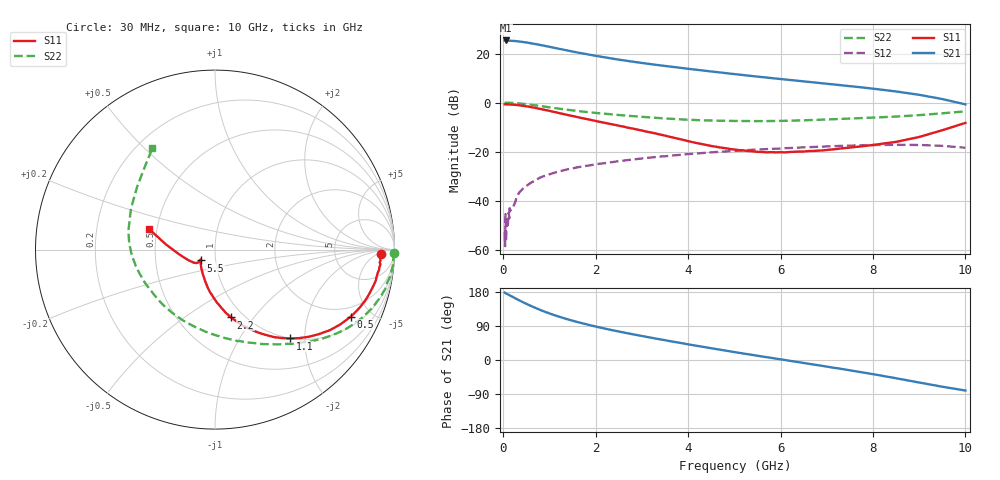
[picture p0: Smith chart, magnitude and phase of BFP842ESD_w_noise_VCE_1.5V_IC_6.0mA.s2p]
! Infineon Technologies  Discrete & RF Semiconductors
! BFP842ESD
! VCE =  1.5 V,  IC =  6.0 mA
! Common Emitter S-Parameters:  May 2012
# GHz  S  MA  R  50
!  f  S11  S21  S12  S22
! GHz  MAG  ANG  MAG  ANG  MAG  ANG  MAG  ANG
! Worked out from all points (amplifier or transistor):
!   99 points, 30 MHz to 10 GHz, reference 50 ohm
!   highest |S21| = 25.3 dB at 60 MHz (marker M1)
!   |S21| within 3 dB of that: start of sweep to 1.107 GHz
!   unconditionally stable (mu >= 1): 3.254 GHz to end of sweep
!   at 350 MHz: K = 0.19, MSG = 30.7 dB, |S12| = -36.5 dB
!   at 3.5 GHz: K = 1.04, MAG = 17.2 dB, |S12| = -21.8 dB
!   at 10 GHz: K = 2.10, MAG = 2.9 dB, |S12| = -18.4 dB
!   lowest NFmin = 0.46 dB at 450 MHz
!   S11 on the Smith chart (normalised r, x): 30 MHz: 24, -8; 500 MHz: 1.45, -3.75; 1.1 GHz: 0.99, -1.70; 2.2 GHz: 0.87, -0.78; 5.5 GHz: 0.85, -0.10; 10 GHz: 0.45, +0.12
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0.03  0.9269 -1.5  18.29 177.9  0.0023 108.2  0.9966 -1.0
0.04  0.9263 -2.2  18.26 177.1  0.0012 54.1  0.9975 -1.4
0.05  0.9225 -2.4  18.16 176.1  0.0054 153.7  0.9953 -2.0
0.06  0.9221 -3.2  18.44 175.6  0.0015 -129.5  0.9959 -2.3
0.09  0.9254 -5.0  18.06 174.0  0.004 97.0  0.9978 -3.6
0.11  0.9208 -6.1  18.37 172.4  0.0056 78.5  0.9921 -4.5
0.25  0.9026 -13.6  17.99 163.5  0.009 79.7  0.9768 -10.8
0.5  0.8435 -26.3  16.79 148.3  0.0202 71.9  0.9312 -20.8
0.6  0.8128 -30.9  16.16 142.6  0.0235 69.4  0.907 -24.4
0.8  0.7457 -39.2  14.93 132.1  0.03 63.9  0.8547 -31.0
1.1  0.6483 -49.8  13.1 118.6  0.0373 57.1  0.7793 -39.4
1.4  0.5597 -58.6  11.47 107.1  0.0442 52.2  0.7138 -46.3
1.7  0.4859 -66.0  10.1 97.2  0.05 48.6  0.6606 -52.6
2.2  0.3882 -76.7  8.352 82.9  0.0587 42.5  0.5941 -62.5
2.7  0.3092 -85.8  7.044 70.3  0.068 37.4  0.5412 -72.0
3.4  0.2241 -99.3  5.739 54.5  0.08 30.6  0.4837 -87.1
4.2  0.1496 -117.6  4.65 37.2  0.0923 21.7  0.4412 -106.8
5.1  0.1082 -137.4  3.725 19.0  0.1058 11.2  0.4226 -128.5
5.5  0.0997 -142.6  3.39 11.3  0.1107 6.5  0.4214 -137.4
6.7  0.1039 -143.7  2.594 -11.6  0.1251 -8.5  0.4438 -164.1
8.5  0.1591 -158.0  1.69 -48.2  0.1388 -36.8  0.5214 153.8
10  0.3871 162.5  0.922 -80.5  0.1209 -66.1  0.6647 121.6
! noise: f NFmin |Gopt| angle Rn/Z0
0.45  0.46  0.3  2  0.12
0.9  0.48  0.31  9  0.11
1.5  0.5  0.34  19  0.11
1.9  0.52  0.33  26  0.1
2.4  0.54  0.29  39  0.1
3.5  0.64  0.21  81  0.08
4  0.68  0.17  104  0.08
5  0.73  0.17  122  0.07
5.5  0.84  0.16  147  0.08
6  0.97  0.14  161  0.08
